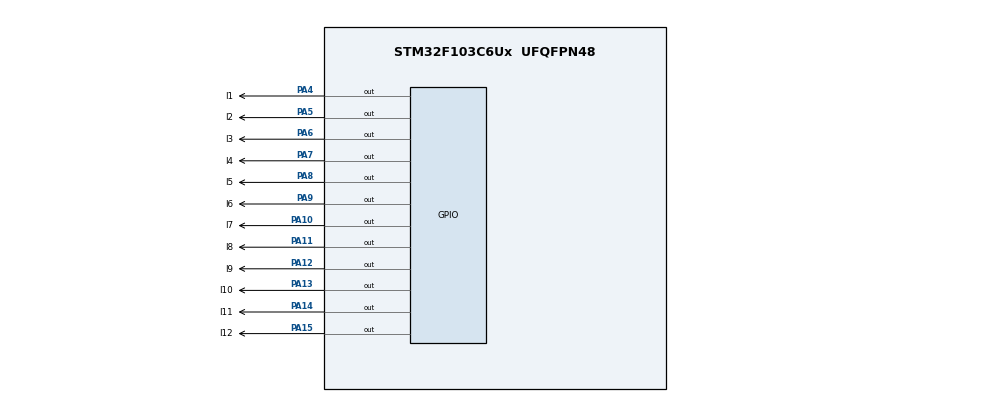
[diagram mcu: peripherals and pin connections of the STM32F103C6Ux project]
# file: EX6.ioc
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Mcu.Family=STM32F1
Mcu.Name=STM32F103C6Ux
Mcu.Package=UFQFPN48
NVIC.PriorityGroup=NVIC_PRIORITYGROUP_4
PA10.GPIO_Label=l7
PA10.Signal=GPIO_Output
PA11.GPIO_Label=l8
PA11.Signal=GPIO_Output
PA12.GPIO_Label=l9
PA12.Signal=GPIO_Output
PA13.GPIO_Label=l10
PA13.Signal=GPIO_Output
PA14.GPIO_Label=l11
PA14.Signal=GPIO_Output
PA15.GPIO_Label=l12
PA15.Signal=GPIO_Output
PA4.GPIO_Label=l1
PA4.Signal=GPIO_Output
PA5.GPIO_Label=l2
PA5.Signal=GPIO_Output
PA6.GPIO_Label=l3
PA6.Signal=GPIO_Output
PA7.GPIO_Label=l4
PA7.Signal=GPIO_Output
PA8.GPIO_Label=l5
PA8.Signal=GPIO_Output
PA9.GPIO_Label=l6
PA9.Signal=GPIO_Output
ProjectManager.HeapSize=0x200
ProjectManager.StackSize=0x400
ProjectManager.TargetToolchain=STM32CubeIDE
RCC.APB1Freq_Value=8000000
RCC.APB2Freq_Value=8000000
VP_SYS_VS_ND.Mode=No_Debug
board=custom

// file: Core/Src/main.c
/* USER CODE BEGIN Header */
/**
  ******************************************************************************
  * @file           : main.c
  * @brief          : Main program body
  ******************************************************************************
  * @attention
  *
  * <h2><center>&copy; Copyright (c) 2022 STMicroelectronics.
  * All rights reserved.</center></h2>
  *
  * This software component is licensed by ST under BSD 3-Clause license,
  * the "License"; You may not use this file except in compliance with the
  * License. You may obtain a copy of the License at:
  *                        opensource.org/licenses/BSD-3-Clause
  *
  ******************************************************************************
  */
/* USER CODE END Header */
#include "main.h"

void SystemClock_Config(void);
static void MX_GPIO_Init(void);

int main(void)
{

  /* MCU Configuration--------------------------------------------------------*/

  /* Reset of all peripherals, Initializes the Flash interface and the Systick. */
  HAL_Init();

  /* Configure the system clock */
  SystemClock_Config();

  /* Initialize all configured peripherals */
  MX_GPIO_Init();

  /* Infinite loop */
  /* USER CODE BEGIN WHILE */
  int state = 1;
  while (1)
  {
    /* USER CODE END WHILE */

    /* USER CODE BEGIN 3 */
	  HAL_GPIO_WritePin (GPIOA,l1_Pin|l2_Pin|l3_Pin|l4_Pin|l5_Pin|l6_Pin|l7_Pin|l8_Pin|l9_Pin|l10_Pin|l11_Pin|l12_Pin, GPIO_PIN_SET );
	  switch(state){
	  case 1:
		  HAL_GPIO_TogglePin (l1_GPIO_Port,l1_Pin) ;
		  state = 2;
		  break;
	  case 2:
		  HAL_GPIO_TogglePin (l2_GPIO_Port,l2_Pin) ;
		  state = 3;
		  break;
	  case 3:
		  HAL_GPIO_TogglePin (l3_GPIO_Port,l3_Pin) ;
		  state = 4;
		  break;
	  case 4:
		  HAL_GPIO_TogglePin (l4_GPIO_Port,l4_Pin) ;
		  state = 5;
		  break;
	  case 5:
		  HAL_GPIO_TogglePin (l5_GPIO_Port,l5_Pin) ;
		  state = 6;
		  break;
	  case 6:
		  HAL_GPIO_TogglePin (l6_GPIO_Port,l6_Pin) ;
		  state = 7;
		  break;
	  case 7:
		  HAL_GPIO_TogglePin (l7_GPIO_Port,l7_Pin) ;
		  state = 8;
		  break;
	  case 8:
		  HAL_GPIO_TogglePin (l8_GPIO_Port,l8_Pin) ;
		  state = 9;
		  break;
	  case 9:
		  HAL_GPIO_TogglePin (l9_GPIO_Port,l9_Pin) ;
		  state = 10;
		  break;
	  case 10:
		  HAL_GPIO_TogglePin (l10_GPIO_Port,l10_Pin) ;
		  state = 11;
		  break;
	  case 11:
		  HAL_GPIO_TogglePin (l11_GPIO_Port,l11_Pin) ;
		  state = 12;
		  break;
	  case 12:
		  HAL_GPIO_TogglePin (l12_GPIO_Port,l12_Pin) ;
		  state = 1;
		  break;
	  }
	  HAL_Delay(1000);
  }
  /* USER CODE END 3 */
}

void SystemClock_Config(void)
{
  RCC_OscInitTypeDef RCC_OscInitStruct = {0};
  RCC_ClkInitTypeDef RCC_ClkInitStruct = {0};

  /** Initializes the RCC Oscillators according to the specified parameters
  * in the RCC_OscInitTypeDef structure.
  */
  RCC_OscInitStruct.OscillatorType = RCC_OSCILLATORTYPE_HSI;
  RCC_OscInitStruct.HSIState = RCC_HSI_ON;
  RCC_OscInitStruct.HSICalibrationValue = RCC_HSICALIBRATION_DEFAULT;
  RCC_OscInitStruct.PLL.PLLState = RCC_PLL_NONE;
  if (HAL_RCC_OscConfig(&RCC_OscInitStruct) != HAL_OK)
  {
    Error_Handler();
  }
  /** Initializes the CPU, AHB and APB buses clocks
  */
  RCC_ClkInitStruct.ClockType = RCC_CLOCKTYPE_HCLK|RCC_CLOCKTYPE_SYSCLK
                              |RCC_CLOCKTYPE_PCLK1|RCC_CLOCKTYPE_PCLK2;
  RCC_ClkInitStruct.SYSCLKSource = RCC_SYSCLKSOURCE_HSI;
  RCC_ClkInitStruct.AHBCLKDivider = RCC_SYSCLK_DIV1;
  RCC_ClkInitStruct.APB1CLKDivider = RCC_HCLK_DIV1;
  RCC_ClkInitStruct.APB2CLKDivider = RCC_HCLK_DIV1;

  if (HAL_RCC_ClockConfig(&RCC_ClkInitStruct, FLASH_LATENCY_0) != HAL_OK)
  {
    Error_Handler();
  }
}

static void MX_GPIO_Init(void)
{
  GPIO_InitTypeDef GPIO_InitStruct = {0};

  /* GPIO Ports Clock Enable */
  __HAL_RCC_GPIOA_CLK_ENABLE();

  /*Configure GPIO pin Output Level */
  HAL_GPIO_WritePin(GPIOA, l1_Pin|l2_Pin|l3_Pin|l4_Pin
                          |l5_Pin|l6_Pin|l7_Pin|l8_Pin
                          |l9_Pin|l10_Pin|l11_Pin|l12_Pin, GPIO_PIN_RESET);

  /*Configure GPIO pins : l1_Pin l2_Pin l3_Pin l4_Pin
                           l5_Pin l6_Pin l7_Pin l8_Pin
                           l9_Pin l10_Pin l11_Pin l12_Pin */
  GPIO_InitStruct.Pin = l1_Pin|l2_Pin|l3_Pin|l4_Pin
                          |l5_Pin|l6_Pin|l7_Pin|l8_Pin
                          |l9_Pin|l10_Pin|l11_Pin|l12_Pin;
  GPIO_InitStruct.Mode = GPIO_MODE_OUTPUT_PP;
  GPIO_InitStruct.Pull = GPIO_NOPULL;
  GPIO_InitStruct.Speed = GPIO_SPEED_FREQ_LOW;
  HAL_GPIO_Init(GPIOA, &GPIO_InitStruct);

}

void Error_Handler(void)
{
  __disable_irq();
  while (1)
  {
  }
}

/************************ (C) COPYRIGHT STMicroelectronics *****END OF FILE****/
